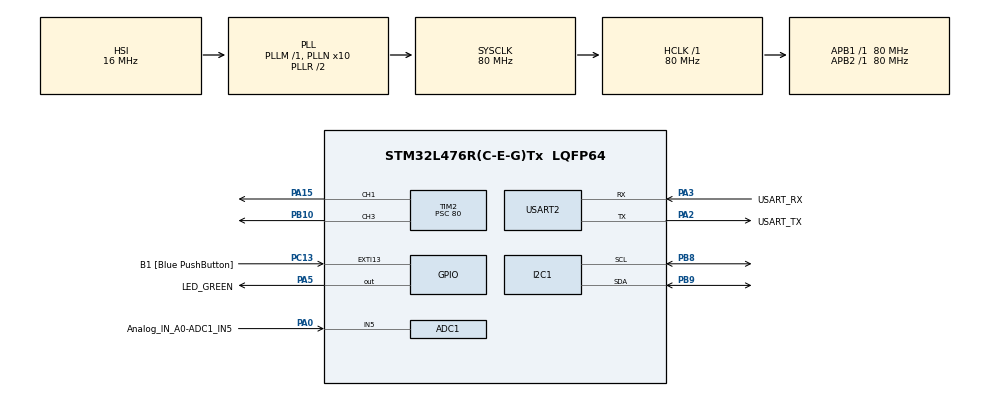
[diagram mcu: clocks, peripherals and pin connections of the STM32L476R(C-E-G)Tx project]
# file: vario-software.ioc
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ADC1.Channel-0\#ChannelRegularConversion=ADC_CHANNEL_5
ADC1.NbrOfConversionFlag=1
ADC1.OffsetNumber-0\#ChannelRegularConversion=ADC_OFFSET_NONE
ADC1.Rank-0\#ChannelRegularConversion=1
ADC1.SamplingTime-0\#ChannelRegularConversion=ADC_SAMPLETIME_2CYCLES_5
ADC1.master=1
I2C1.Timing=0x10D19CE4
Mcu.Family=STM32L4
Mcu.Name=STM32L476R(C-E-G)Tx
Mcu.Package=LQFP64
NVIC.PriorityGroup=NVIC_PRIORITYGROUP_4
NVIC.TIM6_DAC_IRQn=true\:0\:0\:false\:false\:true\:true\:true\:true
PA0.GPIO_Label=Analog_IN_A0-ADC1_IN5
PA0.Signal=ADCx_IN5
PA13\ (JTMS-SWDIO).GPIO_Label=TMS
PA13\ (JTMS-SWDIO).Mode=Serial_Wire
PA13\ (JTMS-SWDIO).Signal=SYS_JTMS-SWDIO
PA14\ (JTCK-SWCLK).GPIO_Label=TCK
PA14\ (JTCK-SWCLK).Mode=Serial_Wire
PA14\ (JTCK-SWCLK).Signal=SYS_JTCK-SWCLK
PA15\ (JTDI).Signal=S_TIM2_CH1
PA2.GPIO_Label=USART_TX
PA2.GPIO_Mode=GPIO_MODE_AF_PP
PA2.GPIO_PuPd=GPIO_NOPULL
PA2.GPIO_Speed=GPIO_SPEED_FREQ_VERY_HIGH
PA2.Mode=Asynchronous
PA2.Signal=USART2_TX
PA3.GPIO_Label=USART_RX
PA3.GPIO_Mode=GPIO_MODE_AF_PP
PA3.GPIO_PuPd=GPIO_NOPULL
PA3.GPIO_Speed=GPIO_SPEED_FREQ_VERY_HIGH
PA3.Mode=Asynchronous
PA3.Signal=USART2_RX
PA5.GPIO_Label=LED_GREEN
PA5.Signal=GPIO_Output
PB10.Signal=S_TIM2_CH3
PB3\ (JTDO-TRACESWO).GPIO_Label=SWO
PB3\ (JTDO-TRACESWO).Signal=SYS_JTDO-SWO
PB8.Mode=I2C
PB8.Signal=I2C1_SCL
PB9.Mode=I2C
PB9.Signal=I2C1_SDA
PC13.GPIO_Label=B1 [Blue PushButton]
PC13.GPIO_ModeDefaultEXTI=GPIO_MODE_IT_FALLING
PC13.GPIO_PuPd=GPIO_NOPULL
PC13.Signal=GPXTI13
PC14-OSC32_IN\ (PC14).Mode=LSE-External-Oscillator
PC14-OSC32_IN\ (PC14).Signal=RCC_OSC32_IN
PC15-OSC32_OUT\ (PC15).Mode=LSE-External-Oscillator
PC15-OSC32_OUT\ (PC15).Signal=RCC_OSC32_OUT
PH0-OSC_IN\ (PH0).Signal=RCC_OSC_IN
PH1-OSC_OUT\ (PH1).Signal=RCC_OSC_OUT
ProjectManager.HeapSize=0x200
ProjectManager.StackSize=0x400
ProjectManager.TargetToolchain=STM32CubeIDE
RCC.ADCFreq_Value=64000000
RCC.AHBFreq_Value=80000000
RCC.APB1Freq_Value=80000000
RCC.APB1TimFreq_Value=80000000
RCC.APB2Freq_Value=80000000
RCC.APB2TimFreq_Value=80000000
RCC.CortexFreq_Value=80000000
RCC.HCLKFreq_Value=80000000
RCC.HSE_VALUE=8000000
RCC.HSI_VALUE=16000000
RCC.MSI_VALUE=4000000
RCC.PLLN=10
RCC.PLLSourceVirtual=RCC_PLLSOURCE_HSI
RCC.PREFETCH_ENABLE=1
RCC.SYSCLKFreq_VALUE=80000000
RCC.SYSCLKSource=RCC_SYSCLKSOURCE_PLLCLK
RCC.USBFreq_Value=64000000
RCC.VCOOutputFreq_Value=160000000
SH.ADCx_IN5.0=ADC1_IN5,IN5-Single-Ended
SH.S_TIM2_CH1.0=TIM2_CH1,PWM Generation1 CH1
SH.S_TIM2_CH3.0=TIM2_CH3,PWM Generation3 CH3
TIM2.Channel-PWM\ Generation1\ CH1=TIM_CHANNEL_1
TIM2.Channel-PWM\ Generation3\ CH3=TIM_CHANNEL_3
TIM2.OCFastMode_PWM-PWM\ Generation1\ CH1=TIM_OCFAST_ENABLE
TIM2.OCFastMode_PWM-PWM\ Generation3\ CH3=TIM_OCFAST_ENABLE
TIM2.Period=600
TIM2.Prescaler=80
TIM2.Pulse-PWM\ Generation1\ CH1=300
TIM2.Pulse-PWM\ Generation3\ CH3=300
TIM6.Period=10
TIM6.Prescaler=2000
TIM6.TIM_MasterOutputTrigger=TIM_TRGO_UPDATE
USART2.VirtualMode-Asynchronous=VM_ASYNC
VP_TIM2_VS_ClockSourceINT.Mode=Internal
VP_TIM6_VS_ClockSourceINT.Mode=Enable_Timer
board=NUCLEO-L476RG

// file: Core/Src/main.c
/* USER CODE BEGIN Header */
/**
  ******************************************************************************
  * @file           : main.c
  * @brief          : Main program body
  ******************************************************************************
  * @attention
  *
  * Copyright (c) 2025 STMicroelectronics.
  * All rights reserved.
  *
  * This software is licensed under terms that can be found in the LICENSE file
  * in the root directory of this software component.
  * If no LICENSE file comes with this software, it is provided AS-IS.
  *
  ******************************************************************************
  */
/* USER CODE END Header */
#include "main.h"

/* USER CODE BEGIN Includes */

#include <stdio.h>
#include "Settings.h"
#include "bmp280.h"
#include <math.h>

/* USER CODE END Includes */

/* USER CODE BEGIN PTD */

volatile uint8_t peepState = 0;				// needs to be volatile, because its needed in interrups

typedef struct{
	float			climb_threshold;
	float			near_climb_threshold;
	float			sink_threshold;
	float			climb_beeps_start;
	float			climb_beeps_stop;

	unsigned int 	start_f_climb;
	unsigned int 	stop_f_climb;
	unsigned int 	start_f_sink;
	unsigned int 	stop_f_sink;
	unsigned int 	min_peep_time_start;
	unsigned int 	min_peep_time_stop;

	uint8_t			volume;
}Beeper_t;

typedef struct{
	float			preassure;
	float			altitude;
	float			temperature;
	float			verticalSpeed;

	float			preassureSealevel;
}Barometer_t;

typedef struct{
	uint8_t 		temperature;
	uint8_t 		speed;
	uint8_t 		backlight;
	uint8_t			batteryPercent;
	double	 		altitude;
	double			preassure;
	double	 		verticalSpeed;
}Lcd_t;

typedef struct{
	char 			Name[20];
	char 			ID[10];
}PilotData_t;

typedef struct{
	uint32_t		voltage;
	uint8_t			percent;

	uint32_t		voltAt0Percent;
	uint32_t		voltAt5Percent;
	uint32_t		voltAt20Percent;
	uint32_t		voltAt75Percent;
	uint32_t		voltAt100Percent;
}Battery_t;

/* USER CODE END PTD */

ADC_HandleTypeDef hadc1;

I2C_HandleTypeDef hi2c1;

TIM_HandleTypeDef htim2;
TIM_HandleTypeDef htim6;

UART_HandleTypeDef huart2;

/* USER CODE BEGIN PV */

Beeper_t Beeper;
Barometer_t Baro;
Lcd_t Lcd;
PilotData_t Pilot;
Battery_t Battery;

/* USER CODE END PV */

void SystemClock_Config(void);
static void MX_GPIO_Init(void);
static void MX_USART2_UART_Init(void);
static void MX_ADC1_Init(void);
static void MX_I2C1_Init(void);
static void MX_TIM2_Init(void);
static void MX_TIM6_Init(void);
/* USER CODE BEGIN PFP */

float constrain(float, float, float);					// custom math function, as in Arudino IDE
float mapfloat(float, float, float, float, float);		// custom math function, as in Arudino IDE

extern inline void PeepTimCallback(void);

void LoadSettings(void);
void ReadVoltage(Battery_t*);
void CalcBatteryPercent(Battery_t*);
void InitBaro(void);
void ReadBaro(Barometer_t*);
void CalculateTone(float, Beeper_t*);
void ApplyF(unsigned int, float, uint8_t);
extern inline void DisableF(void);

void InitLcd(void);
void UpdateLcd(Lcd_t*);

/* USER CODE END PFP */

/* USER CODE BEGIN 0 */

//Called by TIM6_DAC_IRQHandler
extern inline void PeepTimCallback(void) {		// This function needs to be inline, because its called very often by a timer iterrupt. To not waste time, put this fuction right where the IRQ stepin is
	if (peepState == 1) {						// Depending if the Buzzer was on bevor
		TIM2->CR1 &= 0xFE;						// Disable Timer 2
		peepState = 0;
	} else {
		TIM2->CR1 |= 0x01;						// Enable  Timer 2
		peepState = 1;
	}
}

/* USER CODE END 0 */

int main(void)
{

  /* USER CODE BEGIN 1 */

	printf("\tBuilt-date: %s\n", BUILT_DATE);	// show the date of the last built, to make sure its the correct one
	printf("\tBuilt-time: %s\n", BUILT_TIME);	// show the time of the last built, to make sure its the correct one

	LoadSettings();								// Load all the Setting from the Settings.h to the global variables

  /* USER CODE END 1 */

  /* MCU Configuration--------------------------------------------------------*/

  /* Reset of all peripherals, Initializes the Flash interface and the Systick. */
  HAL_Init();

  /* Configure the system clock */
  SystemClock_Config();

  /* Initialize all configured peripherals */
  MX_GPIO_Init();
  MX_USART2_UART_Init();
  MX_ADC1_Init();
  MX_I2C1_Init();
  MX_TIM2_Init();
  MX_TIM6_Init();
  /* USER CODE BEGIN 2 */

  InitBaro();									// Initialize the barometer to set all the oversampling-rates and filters right values
  InitLcd();									// Initialize the Liquid crystal Display

  //Start the timers for beeping
  HAL_TIM_PWM_Start(&htim2, TIM_CHANNEL_3);		// Start timer 2
  HAL_TIM_Base_Start_IT(&htim6);;				// Start timer 6
  HAL_Delay(1);
  DisableF();									// Timers started already, stop them for no annoiing Buzzer sound

  printf("***********LOOP START***********\n");
  /* USER CODE END 2 */

  /* Infinite loop */
  while (1)
  {

    /* USER CODE BEGIN 3 */

	  // Let green LED blink
	  static uint32_t lastBlink;
	  static uint8_t toggle;
#ifndef TESTMODE
	  if(HAL_GetTick() - lastBlink >= BLINK_TIME){						// Check if enough time passed and this part should now be executed
#else
	  float analogBlinkTime = mapfloat(Battery.percent, 0, 100, 0, 2000);
	  if(HAL_GetTick() - lastBlink >= analogBlinkTime){					// Match the blink time according the analog signal of A0
#endif
		  lastBlink = HAL_GetTick();									// Reset timer variable
		  toggle = !toggle;
		  HAL_GPIO_WritePin(LED_GREEN_GPIO_Port, LED_GREEN_Pin, toggle);
	  }

	  // Read analog voltage at A0
	  static uint32_t lastAdcRead;
	  if(HAL_GetTick() - lastAdcRead >= BATTERY_UPDATE_TIME){			// Check if enough time passed and this part should now be executed
		  lastAdcRead = HAL_GetTick();									// Reset timer variable
		  ReadVoltage(&Battery);										// Read voltage from analog pin, the battery and store it in the Battery enum
		  CalcBatteryPercent(&Battery);									// Calculate a percentace out of the voltage, according to the real discharge curve
	  }

	  // Read Baro
	  ReadBaro(&Baro);													// Read the I2C Barometer data, Preassure and Temperature

#ifndef TESTMODE
	  // Generate a tone out of vertical speed
	  CalculateTone(Baro.verticalSpeed, &Beeper);
#else
	  float analogValue = mapfloat(Battery.percent, 0, 100, -10.0, 10.0);
	  CalculateTone(analogValue, &Beeper);								// Test: generate tone from analog signal (A0)
#endif

	  // LCD Code....
	  static uint32_t lastScreenUpdate;
	  if(HAL_GetTick() - lastScreenUpdate >= SCREEN_UPDATE_TIME){		// Check if enough time passed and this part should now be executed
		  UpdateLcd(&Lcd);												// Update all the elements of the display
		  lastScreenUpdate = HAL_GetTick();
	  }

  }
  /* USER CODE END 3 */
}

void SystemClock_Config(void)
{
  RCC_OscInitTypeDef RCC_OscInitStruct = {0};
  RCC_ClkInitTypeDef RCC_ClkInitStruct = {0};

  /** Configure the main internal regulator output voltage
  */
  if (HAL_PWREx_ControlVoltageScaling(PWR_REGULATOR_VOLTAGE_SCALE1) != HAL_OK)
  {
    Error_Handler();
  }

  /** Initializes the RCC Oscillators according to the specified parameters
  * in the RCC_OscInitTypeDef structure.
  */
  RCC_OscInitStruct.OscillatorType = RCC_OSCILLATORTYPE_HSI;
  RCC_OscInitStruct.HSIState = RCC_HSI_ON;
  RCC_OscInitStruct.HSICalibrationValue = RCC_HSICALIBRATION_DEFAULT;
  RCC_OscInitStruct.PLL.PLLState = RCC_PLL_ON;
  RCC_OscInitStruct.PLL.PLLSource = RCC_PLLSOURCE_HSI;
  RCC_OscInitStruct.PLL.PLLM = 1;
  RCC_OscInitStruct.PLL.PLLN = 10;
  RCC_OscInitStruct.PLL.PLLP = RCC_PLLP_DIV7;
  RCC_OscInitStruct.PLL.PLLQ = RCC_PLLQ_DIV2;
  RCC_OscInitStruct.PLL.PLLR = RCC_PLLR_DIV2;
  if (HAL_RCC_OscConfig(&RCC_OscInitStruct) != HAL_OK)
  {
    Error_Handler();
  }

  /** Initializes the CPU, AHB and APB buses clocks
  */
  RCC_ClkInitStruct.ClockType = RCC_CLOCKTYPE_HCLK|RCC_CLOCKTYPE_SYSCLK
                              |RCC_CLOCKTYPE_PCLK1|RCC_CLOCKTYPE_PCLK2;
  RCC_ClkInitStruct.SYSCLKSource = RCC_SYSCLKSOURCE_PLLCLK;
  RCC_ClkInitStruct.AHBCLKDivider = RCC_SYSCLK_DIV1;
  RCC_ClkInitStruct.APB1CLKDivider = RCC_HCLK_DIV1;
  RCC_ClkInitStruct.APB2CLKDivider = RCC_HCLK_DIV1;

  if (HAL_RCC_ClockConfig(&RCC_ClkInitStruct, FLASH_LATENCY_4) != HAL_OK)
  {
    Error_Handler();
  }
}

static void MX_ADC1_Init(void)
{

  ADC_MultiModeTypeDef multimode = {0};
  ADC_ChannelConfTypeDef sConfig = {0};

  /** Common config
  */
  hadc1.Instance = ADC1;
  hadc1.Init.ClockPrescaler = ADC_CLOCK_ASYNC_DIV1;
  hadc1.Init.Resolution = ADC_RESOLUTION_12B;
  hadc1.Init.DataAlign = ADC_DATAALIGN_RIGHT;
  hadc1.Init.ScanConvMode = ADC_SCAN_DISABLE;
  hadc1.Init.EOCSelection = ADC_EOC_SINGLE_CONV;
  hadc1.Init.LowPowerAutoWait = DISABLE;
  hadc1.Init.ContinuousConvMode = DISABLE;
  hadc1.Init.NbrOfConversion = 1;
  hadc1.Init.DiscontinuousConvMode = DISABLE;
  hadc1.Init.ExternalTrigConv = ADC_SOFTWARE_START;
  hadc1.Init.ExternalTrigConvEdge = ADC_EXTERNALTRIGCONVEDGE_NONE;
  hadc1.Init.DMAContinuousRequests = DISABLE;
  hadc1.Init.Overrun = ADC_OVR_DATA_PRESERVED;
  hadc1.Init.OversamplingMode = DISABLE;
  if (HAL_ADC_Init(&hadc1) != HAL_OK)
  {
    Error_Handler();
  }

  /** Configure the ADC multi-mode
  */
  multimode.Mode = ADC_MODE_INDEPENDENT;
  if (HAL_ADCEx_MultiModeConfigChannel(&hadc1, &multimode) != HAL_OK)
  {
    Error_Handler();
  }

  /** Configure Regular Channel
  */
  sConfig.Channel = ADC_CHANNEL_5;
  sConfig.Rank = ADC_REGULAR_RANK_1;
  sConfig.SamplingTime = ADC_SAMPLETIME_2CYCLES_5;
  sConfig.SingleDiff = ADC_SINGLE_ENDED;
  sConfig.OffsetNumber = ADC_OFFSET_NONE;
  sConfig.Offset = 0;
  if (HAL_ADC_ConfigChannel(&hadc1, &sConfig) != HAL_OK)
  {
    Error_Handler();
  }

}

static void MX_I2C1_Init(void)
{

  hi2c1.Instance = I2C1;
  hi2c1.Init.Timing = 0x10D19CE4;
  hi2c1.Init.OwnAddress1 = 0;
  hi2c1.Init.AddressingMode = I2C_ADDRESSINGMODE_7BIT;
  hi2c1.Init.DualAddressMode = I2C_DUALADDRESS_DISABLE;
  hi2c1.Init.OwnAddress2 = 0;
  hi2c1.Init.OwnAddress2Masks = I2C_OA2_NOMASK;
  hi2c1.Init.GeneralCallMode = I2C_GENERALCALL_DISABLE;
  hi2c1.Init.NoStretchMode = I2C_NOSTRETCH_DISABLE;
  if (HAL_I2C_Init(&hi2c1) != HAL_OK)
  {
    Error_Handler();
  }

  /** Configure Analogue filter
  */
  if (HAL_I2CEx_ConfigAnalogFilter(&hi2c1, I2C_ANALOGFILTER_ENABLE) != HAL_OK)
  {
    Error_Handler();
  }

  /** Configure Digital filter
  */
  if (HAL_I2CEx_ConfigDigitalFilter(&hi2c1, 0) != HAL_OK)
  {
    Error_Handler();
  }

}

static void MX_TIM2_Init(void)
{

  TIM_ClockConfigTypeDef sClockSourceConfig = {0};
  TIM_MasterConfigTypeDef sMasterConfig = {0};
  TIM_OC_InitTypeDef sConfigOC = {0};

  htim2.Instance = TIM2;
  htim2.Init.Prescaler = 80;
  htim2.Init.CounterMode = TIM_COUNTERMODE_UP;
  htim2.Init.Period = 600;
  htim2.Init.ClockDivision = TIM_CLOCKDIVISION_DIV1;
  htim2.Init.AutoReloadPreload = TIM_AUTORELOAD_PRELOAD_DISABLE;
  if (HAL_TIM_Base_Init(&htim2) != HAL_OK)
  {
    Error_Handler();
  }
  sClockSourceConfig.ClockSource = TIM_CLOCKSOURCE_INTERNAL;
  if (HAL_TIM_ConfigClockSource(&htim2, &sClockSourceConfig) != HAL_OK)
  {
    Error_Handler();
  }
  if (HAL_TIM_PWM_Init(&htim2) != HAL_OK)
  {
    Error_Handler();
  }
  sMasterConfig.MasterOutputTrigger = TIM_TRGO_RESET;
  sMasterConfig.MasterSlaveMode = TIM_MASTERSLAVEMODE_DISABLE;
  if (HAL_TIMEx_MasterConfigSynchronization(&htim2, &sMasterConfig) != HAL_OK)
  {
    Error_Handler();
  }
  sConfigOC.OCMode = TIM_OCMODE_PWM1;
  sConfigOC.Pulse = 300;
  sConfigOC.OCPolarity = TIM_OCPOLARITY_HIGH;
  sConfigOC.OCFastMode = TIM_OCFAST_ENABLE;
  if (HAL_TIM_PWM_ConfigChannel(&htim2, &sConfigOC, TIM_CHANNEL_1) != HAL_OK)
  {
    Error_Handler();
  }
  if (HAL_TIM_PWM_ConfigChannel(&htim2, &sConfigOC, TIM_CHANNEL_3) != HAL_OK)
  {
    Error_Handler();
  }
  HAL_TIM_MspPostInit(&htim2);

}

static void MX_TIM6_Init(void)
{

  TIM_MasterConfigTypeDef sMasterConfig = {0};

  htim6.Instance = TIM6;
  htim6.Init.Prescaler = 2000;
  htim6.Init.CounterMode = TIM_COUNTERMODE_UP;
  htim6.Init.Period = 10;
  htim6.Init.AutoReloadPreload = TIM_AUTORELOAD_PRELOAD_DISABLE;
  if (HAL_TIM_Base_Init(&htim6) != HAL_OK)
  {
    Error_Handler();
  }
  sMasterConfig.MasterOutputTrigger = TIM_TRGO_UPDATE;
  sMasterConfig.MasterSlaveMode = TIM_MASTERSLAVEMODE_DISABLE;
  if (HAL_TIMEx_MasterConfigSynchronization(&htim6, &sMasterConfig) != HAL_OK)
  {
    Error_Handler();
  }

}

static void MX_USART2_UART_Init(void)
{

  huart2.Instance = USART2;
  huart2.Init.BaudRate = 115200;
  huart2.Init.WordLength = UART_WORDLENGTH_8B;
  huart2.Init.StopBits = UART_STOPBITS_1;
  huart2.Init.Parity = UART_PARITY_NONE;
  huart2.Init.Mode = UART_MODE_TX_RX;
  huart2.Init.HwFlowCtl = UART_HWCONTROL_NONE;
  huart2.Init.OverSampling = UART_OVERSAMPLING_16;
  huart2.Init.OneBitSampling = UART_ONE_BIT_SAMPLE_DISABLE;
  huart2.AdvancedInit.AdvFeatureInit = UART_ADVFEATURE_NO_INIT;
  if (HAL_UART_Init(&huart2) != HAL_OK)
  {
    Error_Handler();
  }

}

static void MX_GPIO_Init(void)
{
  GPIO_InitTypeDef GPIO_InitStruct = {0};

  /* GPIO Ports Clock Enable */
  __HAL_RCC_GPIOC_CLK_ENABLE();
  __HAL_RCC_GPIOH_CLK_ENABLE();
  __HAL_RCC_GPIOA_CLK_ENABLE();
  __HAL_RCC_GPIOB_CLK_ENABLE();

  /*Configure GPIO pin Output Level */
  HAL_GPIO_WritePin(LED_GREEN_GPIO_Port, LED_GREEN_Pin, GPIO_PIN_RESET);

  /*Configure GPIO pin : B1_Pin */
  GPIO_InitStruct.Pin = B1_Pin;
  GPIO_InitStruct.Mode = GPIO_MODE_IT_FALLING;
  GPIO_InitStruct.Pull = GPIO_NOPULL;
  HAL_GPIO_Init(B1_GPIO_Port, &GPIO_InitStruct);

  /*Configure GPIO pin : LED_GREEN_Pin */
  GPIO_InitStruct.Pin = LED_GREEN_Pin;
  GPIO_InitStruct.Mode = GPIO_MODE_OUTPUT_PP;
  GPIO_InitStruct.Pull = GPIO_NOPULL;
  GPIO_InitStruct.Speed = GPIO_SPEED_FREQ_LOW;
  HAL_GPIO_Init(LED_GREEN_GPIO_Port, &GPIO_InitStruct);

}

/* USER CODE BEGIN 4 */

void LoadSettings(){
	// Fill all the values from Settings.h to all structs
	Beeper.climb_threshold = 		CLIMB_THRESHOLD;
	Beeper.near_climb_threshold = 	NEAR_CLIMB_THRESHOLD;
	Beeper.sink_threshold = 		SINK_THRESHOLD;
	Beeper.climb_beeps_start = 		CLIMB_BEEPS_AT_THRESHOLD;
	Beeper.climb_beeps_stop = 		CLIMB_BEEPS_AT_MAX_VARIO;
	Beeper.start_f_climb = 			CLIMB_FREQUENCY_AT_THERSHOLD;
	Beeper.stop_f_climb = 			CLIMB_FREQUENCY_AT_MAX_VARIO;
	Beeper.start_f_sink = 			SINK_FREQUENCY_AT_THERSHOLD;
	Beeper.stop_f_sink = 			SINK_FREQUENCY_AT_MIN_VARIO;
	Beeper.min_peep_time_start = 	MIN_PEEP_TIME_AT_THRESHOLD;
	Beeper.min_peep_time_stop = 	MIN_PEEP_TIME_AT_MAX_VARIO;
	Beeper.volume = 				VOLUME;

	Battery.voltAt0Percent = 		BAT_0;
	Battery.voltAt5Percent = 		BAT_5;
	Battery.voltAt20Percent = 		BAT_20;
	Battery.voltAt75Percent = 		BAT_75;
	Battery.voltAt100Percent = 		BAT_100;

	Baro.preassureSealevel = 		PRASSURE_AT_SEALEVEL;

}

void ReadVoltage(Battery_t *tmpBat){
	HAL_ADC_Start(&hadc1);
	HAL_ADC_PollForConversion(&hadc1, 1);						// 1 ms Timeout
	uint32_t ADC_value = HAL_ADC_GetValue(&hadc1) * ADC_MULTI;
	uint32_t voltage = ((float)ADC_value*(float)RES_RATIO);

	//printf("ADC value: %li\n",ADC_value);
	//printf("voltage: %li\n",voltage);

	tmpBat->voltage = voltage;
}

/*
 * Map the Battery voltage to a real Discharge curve
 * The curve is based on a 4 point model
 */
void CalcBatteryPercent(Battery_t *tmpBat){
	float x0, y0, x1, y1, yp;
	//Handle Error
	if(tmpBat->voltage < tmpBat->voltAt0Percent){
		tmpBat->percent = 0;
		return;
	}
	if(tmpBat->voltage > tmpBat->voltAt100Percent){
		tmpBat->percent = 100;
		return;
	}

	if(tmpBat->voltage >= tmpBat->voltAt0Percent && tmpBat->voltage < tmpBat->voltAt5Percent){
		x0=tmpBat->voltAt0Percent;
		y0=0;
		x1=tmpBat->voltAt5Percent;
		y1=5;
	}else if(tmpBat->voltage >= tmpBat->voltAt5Percent && tmpBat->voltage < tmpBat->voltAt20Percent){
		x0=tmpBat->voltAt5Percent;
		y0=5;
		x1=tmpBat->voltAt20Percent;
		y1=20;
	}else if(tmpBat->voltage >= tmpBat->voltAt20Percent && tmpBat->voltage < tmpBat->voltAt75Percent){
		x0=tmpBat->voltAt20Percent;
		y0=20;
		x1=tmpBat->voltAt75Percent;
		y1=75;
	}else if(tmpBat->voltage >= tmpBat->voltAt75Percent && tmpBat->voltage <= tmpBat->voltAt100Percent){
		x0=tmpBat->voltAt75Percent;
		y0=75;
		x1=tmpBat->voltAt100Percent;
		y1=100;
	}

	yp = y0 + ((y1-y0)/(x1-x0)) * (tmpBat->voltage - x0);
	//return (uint8_t)yp;
	tmpBat->percent = (uint8_t)yp;
}

/*
 * constrain v0 to min v1 and max v2
 */
float constrain(float v0, float v1, float v2){
	if(v0 < v1) v0 = v1;
	if(v0 > v2) v0 = v2;
	return v0;
}

/*
 * linear conversion from a value between x and y to a range from a to b
 */
float mapfloat(float x, float in_min, float in_max, float out_min, float out_max) {
	return (x - in_min) * (out_max - out_min) / (in_max - in_min) + out_min;
}

void InitBaro(){
	if(BMP280_Check()== 1)
		printf("all good");
	else
		printf("no i2c device found");

	BMP280_Read_Calibration();				// Read internal calibaration data and save them locally (needed for further calculations)
	BMP280_SetStandby(BMP280_STBY_1s);		// Set normal mode inactive duration (standby time)
	BMP280_SetFilter(BMP280_FILTER_OFF);	// Set IIR filter constant
	BMP280_SetOSRST(BMP280_OSRS_T_x2);		// Set oversampling for temperature
	BMP280_SetOSRSP(BMP280_OSRS_P_x1);		// Set oversampling for pressure
	BMP280_SetMode(BMP280_MODE_NORMAL);		// Set normal mode (perpetual periodic conversion)
}

void ReadBaro(Barometer_t *tmpBaro){
	static uint32_t lastBaroRead;
	static uint32_t conversionTimer;

	static int32_t raw_preassure, raw_temperature;

	if(HAL_GetTick() - conversionTimer > 12){
		BMP280_Read_UTP(&raw_temperature, &raw_preassure);					// Read the raw data of the baro as often as possible, else the read value does not change much
		conversionTimer = HAL_GetTick();
	}

	if(HAL_GetTick() - lastBaroRead > BARO_UPDATE_TIME){
		double baroElapsedTime = (HAL_GetTick() - lastBaroRead) / 1000.0f;	// get exact time since last read in Seconds
		lastBaroRead = HAL_GetTick();

		tmpBaro->temperature = BMP280_CalcT(raw_temperature) / 100.0;		// convert to correct number format (2510 -> 25.10)
		tmpBaro->preassure = BMP280_CalcP(raw_preassure) / 100000.0;		// convert to correct number format (100663688 -> 100663.688) and from mPa to hPa

		float r= tmpBaro->preassure / tmpBaro->preassureSealevel;
		float newAltitude = (1.0 - pow(r,0.1902949f))*44330.77f;			// Calculate an altitude from preassure

		float altitudeDelta = tmpBaro->altitude - newAltitude;				// Calculate an altitude delta since last measurement
		tmpBaro->verticalSpeed = (altitudeDelta / baroElapsedTime);			// Calculate an vertical speed out of altiude delta and time

		tmpBaro->altitude = newAltitude;									// Save the new altitude to use in next loop as old value
	}
}

void CalculateTone(float vSpeed, Beeper_t *tmpBeeper){
	static float oldVSpeed;
	static uint32_t peep_start;
	vSpeed = constrain(vSpeed, MIN_VARIO , MAX_VARIO);

	// This is to only calculate (and apply) a new tone if the old tone is in its LOW state.. so the PWM is in the low phase.
	// Need this to not hear any weired artefacts
	if(oldVSpeed >= tmpBeeper->climb_threshold){
		unsigned int peep_time = (unsigned int)mapfloat(oldVSpeed, tmpBeeper->climb_threshold, MAX_VARIO,
						(float)tmpBeeper->min_peep_time_start, (float)tmpBeeper->min_peep_time_stop);
		if (HAL_GetTick() - peep_start < peep_time)
			return;
	}else if(oldVSpeed <= tmpBeeper->sink_threshold){
		if (HAL_GetTick() - peep_start < 100)
			return;
	}

	peep_start = HAL_GetTick();

	if(vSpeed > oldVSpeed-0.1 && vSpeed < oldVSpeed+0.1)	// Check if NO change in vertical speed
		return;

	oldVSpeed = vSpeed;										// set oldVSpeed to the new vSpeed for next loop

	if(vSpeed >= tmpBeeper->climb_threshold){
		unsigned int freqency = mapfloat(vSpeed,0.0, MAX_VARIO, tmpBeeper->start_f_climb, tmpBeeper->stop_f_climb);
		float peepsPS = mapfloat(vSpeed, 0.0, MAX_VARIO, tmpBeeper->climb_beeps_start,tmpBeeper->climb_beeps_stop);
		ApplyF(freqency, peepsPS, tmpBeeper->volume);

	}else if(vSpeed >= tmpBeeper->near_climb_threshold && vSpeed < tmpBeeper->climb_threshold && ENABLE_NEAR_CLIMB){
		unsigned int freqency = 550;
		ApplyF(freqency, 0.25, tmpBeeper->volume);

	}else if(vSpeed <= tmpBeeper->sink_threshold){
		TIM6->CR1 &= 0xFE;	//Disable Timer
		unsigned int freqency = mapfloat(vSpeed,0.0, MIN_VARIO, tmpBeeper->start_f_sink, tmpBeeper->stop_f_sink);
		ApplyF(freqency, 0.0, tmpBeeper->volume);

	}else{	// stop peep
		DisableF();
	}
}

/*
 * SYSCLOCK = 80 MHz
 * TIM2 prescaler = 80
 * => TIM2 freq = 1MHz
 * TIM2 autoload = 600
 * TIM2 pulse = 300
 *
 * TIM6 prescaler = 2000
 * => TIM6 freq = 40kHz
 * TIM6 autoload = 10
 *
 *
 * TIM2 is for PWM, so tone pitch and volume
 * TIM6 is for beeping, so the slow second modulation of this tone
 */
void ApplyF(unsigned int freq, float bps, uint8_t vol){
	/*
	 * freq in Hz
	 * bps in float beeps, per seconds
	 * vol 1 - 10
	 */
	if(vol == 0){						// With no volume there is no need to play any sound
		DisableF();
		return;
	}
	uint32_t period = 1000000/freq;				//new counter period = freq (in µs)
	uint32_t Bperiod = 40000.0f/(bps * 2.0); 	// * 2.0
	uint32_t volume = (float)period / mapfloat((float)vol, 1.0, 10.0, 1000.0, 1.1);	//new pulse width = volume (max 1/2 freq)

	DisableF();							// Disable the sound, to not hear any weired sound while configer new sound
	TIM2->ARR = period -1 ;				// Set Timer 2 to frequency we want to hear
	if(TIM2->CNT >= TIM2->ARR)
		TIM2->CNT = 0;
	TIM2->CCR1 = volume;				// Set the Pulse width according the volume (PWM)
	if(bps > 0.001){					// Only if there actually is "something"
		TIM6->CNT = 0;
		TIM6->ARR = Bperiod- 1;			// Set Timer 6 to the slow beep freq. modulated to the high pitch of TIM2
		TIM6->CR1 |= 0x01;				//Enable  Timer 6
	}
	TIM2->CR1 |= 0x01;					// Enable  Timer 2
	peepState = 1;						// write, that Buzzer is on
}

extern inline void DisableF(void){		// Turn off both timers and make them ready for a smooth restart
	if(TIM2->CNT < TIM2->ARR){
		TIM2->CNT = TIM2->ARR + 1;		// Set Timer 2 actual counter to one above the auto-reload-level
	}
	TIM6->CR1 &= 0xFE;					// Disable Timer
	TIM2->CR1 &= 0xFE;					// Disable Timer
}

/*
 * TODO
 */
void InitLcd(){

}

/*
 * TODO
 */
void UpdateLcd(Lcd_t *tmpLcd){

}

/* USER CODE END 4 */

void Error_Handler(void)
{
  __disable_irq();
  while (1)
  {
  }
}
